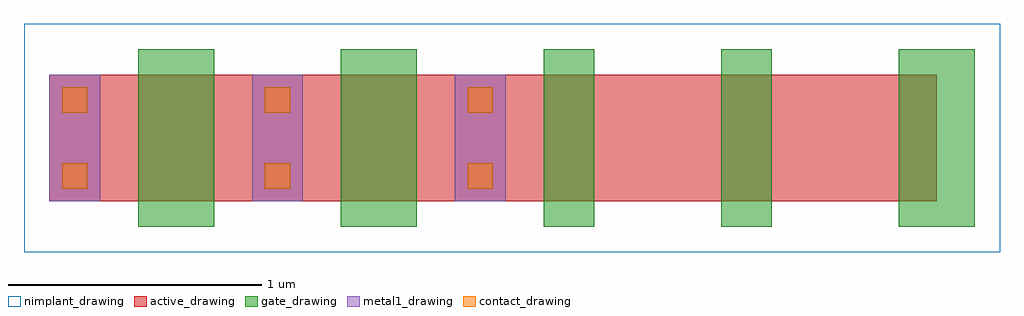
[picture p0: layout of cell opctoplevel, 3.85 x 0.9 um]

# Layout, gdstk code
import gdstk
lib = gdstk.Library(unit=1e-6, precision=1e-09)
def R(c, l, rs):  # rectangles x0, y0, x1, y1
    for r in rs: c.add(gdstk.rectangle(r[:2], r[2:], *l))
def A(c, l, x, y, w, h, nx, ny, dx, dy):  # array of equal rectangles
    R(c, l, [(x+i*dx, y+j*dy, x+i*dx+w, y+j*dy+h) for i in range(nx) for j in range(ny)])
active_drawing = (1, 0)
nimplant_drawing = (5, 0)
gate_drawing = (6, 0)
contact_drawing = (7, 0)
metal1_drawing = (8, 0)

opctoplevel = lib.new_cell('opctoplevel')
R(opctoplevel, active_drawing, [(-0.35,0,3.15,0.5)])
R(opctoplevel, nimplant_drawing, [(-0.45,-0.2,3.4,0.7)])
R(opctoplevel, gate_drawing, [(0,-0.1,0.3,0.6), (0.8,-0.1,1.1,0.6), (1.6,-0.1,1.8,0.6), (2.3,-0.1,2.5,0.6), (3,-0.1,3.3,0.6)])
A(opctoplevel, contact_drawing, -0.3, 0.05, 0.1, 0.1, 3, 2, 0.8, 0.3)
A(opctoplevel, metal1_drawing, -0.35, 0, 0.2, 0.5, 3, 1, 0.8, 0)

lib.write_gds('opctoplevel.gds')
